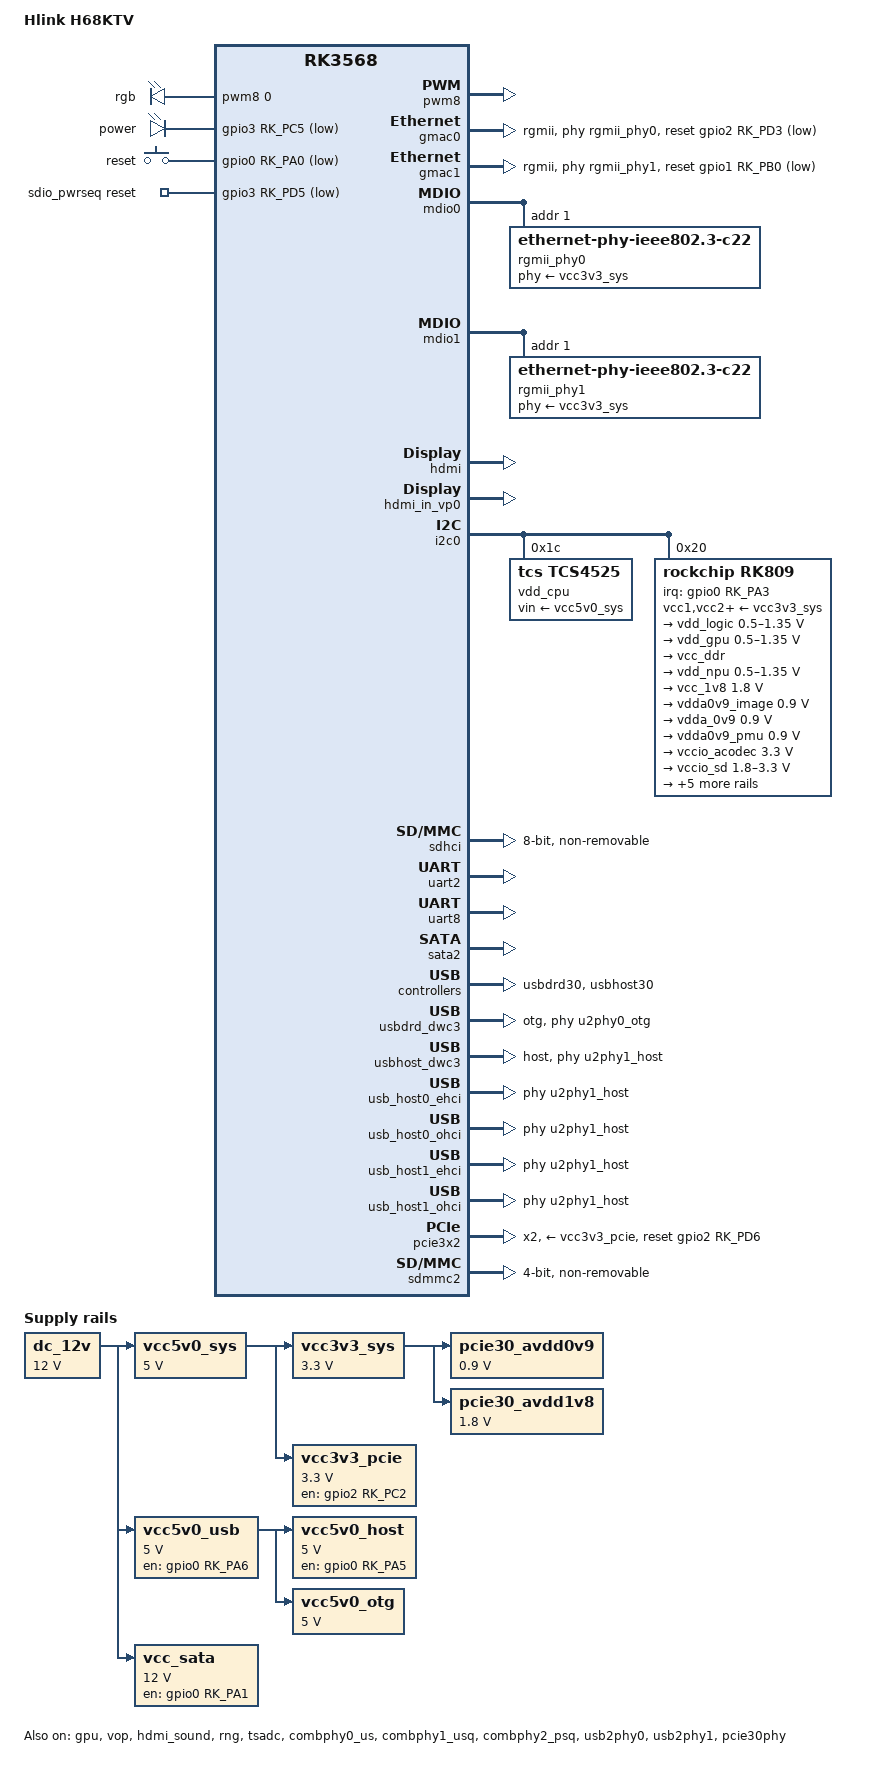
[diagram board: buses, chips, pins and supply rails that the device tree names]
// SPDX-License-Identifier: (GPL-2.0+ OR MIT)
// Copyright (c) 2022 AmadeusGhost <amadeus@jmu.edu.cn>

/dts-v1/;

#include <dt-bindings/gpio/gpio.h>
#include <dt-bindings/leds/common.h>
#include <dt-bindings/input/input.h>
#include <dt-bindings/pinctrl/rockchip.h>
#include <dt-bindings/soc/rockchip,vop2.h>
#include "rk3568.dtsi"

/ {
	model = "Hlink H68KTV";
	compatible = "hlink,h68ktv", "rockchip,rk3568";

	aliases {
		ethernet0 = &gmac0;
		ethernet1 = &gmac1;
		mmc1 = &sdhci;

		led-boot = &power_led;
		led-failsafe = &power_led;
		led-running = &power_led;
		led-upgrade = &power_led;
	};

	chosen: chosen {
		stdout-path = "serial2:1500000n8";
	};

	/* RGB LED 配置 */
	pwm-leds {
		compatible = "pwm-leds";
		rgb {
			label = "rgb";
			pwms = <&pwm8 0 12500000 0>; /* 周期 12.5ms (80Hz)，占空比 0-100% */
			max-brightness = <255>;
			linux,default-trigger = "default-on";
		};
	};

	leds {
		compatible = "gpio-leds";

		power_led: power {
			label = "power";
			gpios = <&gpio3 RK_PC5 GPIO_ACTIVE_LOW>;
			linux,default-trigger = "heartbeat";
			retain-state-suspended;
		};
	};

	keys {
		compatible = "gpio-keys";
		pinctrl-0 = <&reset_button_pin>;
		pinctrl-names = "default";

		reset {
			label = "reset";
			gpios = <&gpio0 RK_PA0 GPIO_ACTIVE_LOW>;
			linux,code = <KEY_RESTART>;
			debounce-interval = <50>;
		};
	};

	dc_12v: dc-12v {
		compatible = "regulator-fixed";
		regulator-name = "dc_12v";
		regulator-always-on;
		regulator-boot-on;
		regulator-min-microvolt = <12000000>;
		regulator-max-microvolt = <12000000>;
	};

	vcc5v0_sys: vcc5v0-sys {
		compatible = "regulator-fixed";
		regulator-name = "vcc5v0_sys";
		regulator-always-on;
		regulator-boot-on;
		regulator-min-microvolt = <5000000>;
		regulator-max-microvolt = <5000000>;
		vin-supply = <&dc_12v>;
	};

	vcc5v0_usb: vcc5v0-usb-regulator {
		compatible = "regulator-fixed";
		regulator-name = "vcc5v0_usb";
		regulator-always-on;
		regulator-boot-on;
		enable-active-high;
		gpio = <&gpio0 RK_PA6 GPIO_ACTIVE_HIGH>;
		pinctrl-names = "default";
		pinctrl-0 = <&vcc5v0_host_en0>;
		regulator-min-microvolt = <5000000>;
		regulator-max-microvolt = <5000000>;
		vin-supply = <&dc_12v>;
	};

	vcc5v0_host: vcc5v0-host-regulator {
		compatible = "regulator-fixed";
		regulator-name = "vcc5v0_host";
		enable-active-high;
		gpio = <&gpio0 RK_PA5 GPIO_ACTIVE_HIGH>;
		pinctrl-names = "default";
		pinctrl-0 = <&vcc5v0_host_en1>;
		regulator-always-on;
		regulator-min-microvolt = <5000000>;
		regulator-max-microvolt = <5000000>;
		vin-supply = <&vcc5v0_usb>;
	};

	vcc5v0_otg: vcc5v0-otg-regulator {
		compatible = "regulator-fixed";
		regulator-name = "vcc5v0_otg";
		regulator-min-microvolt = <5000000>;
		regulator-max-microvolt = <5000000>;
		vin-supply = <&vcc5v0_usb>;
	};
    vcc3v3_sys: vcc3v3-sys {
        compatible = "regulator-fixed";
        regulator-name = "vcc3v3_sys";
        regulator-always-on;
        regulator-boot-on;
        regulator-min-microvolt = <3300000>;
        regulator-max-microvolt = <3300000>;
        vin-supply = <&vcc5v0_sys>;
    };
	vcc3v3_pcie: vcc3v3-pcie-regulator {
		compatible = "regulator-fixed";
		regulator-name = "vcc3v3_pcie";
		enable-active-high;
		gpio = <&gpio2 RK_PC2 GPIO_ACTIVE_HIGH>;
		startup-delay-us = <5000>;
		regulator-min-microvolt = <3300000>;
		regulator-max-microvolt = <3300000>;
		vin-supply = <&vcc5v0_sys>;
	};

	pcie30_avdd0v9: pcie30-avdd0v9 {
		compatible = "regulator-fixed";
		regulator-name = "pcie30_avdd0v9";
		regulator-always-on;
		regulator-boot-on;
		regulator-min-microvolt = <900000>;
		regulator-max-microvolt = <900000>;
		vin-supply = <&vcc3v3_sys>;
	};

	pcie30_avdd1v8: pcie30-avdd1v8 {
		compatible = "regulator-fixed";
		regulator-name = "pcie30_avdd1v8";
		regulator-always-on;
		regulator-boot-on;
		regulator-min-microvolt = <1800000>;
		regulator-max-microvolt = <1800000>;
		vin-supply = <&vcc3v3_sys>;
	};

    vcc_sata: sata-pwr-regulator {
        compatible = "regulator-fixed";
        regulator-name = "vcc_sata";
        enable-active-high;
        gpio = <&gpio0 RK_PA1 GPIO_ACTIVE_HIGH>;
        pinctrl-names = "default";
        pinctrl-0 = <&sata_pwr>;
        regulator-always-on;
        regulator-boot-on;
        regulator-min-microvolt = <12000000>;
        regulator-max-microvolt = <12000000>;
        vin-supply = <&dc_12v>;
    };

	sdio_pwrseq: sdio-pwrseq {
		compatible = "mmc-pwrseq-simple";
		clocks = <&rk809 1>;
		clock-names = "ext_clock";
		pinctrl-names = "default";
		pinctrl-0 = <&wifi_enable_h>;
		reset-gpios = <&gpio3 RK_PD5 GPIO_ACTIVE_LOW>;
		post-power-on-delay-ms = <100>;
	};
};

&pwm8 {
	status = "okay";
};

&cpu0 {
	cpu-supply = <&vdd_cpu>;
};

&cpu1 {
	cpu-supply = <&vdd_cpu>;
};

&cpu2 {
	cpu-supply = <&vdd_cpu>;
};

&cpu3 {
	cpu-supply = <&vdd_cpu>;
};

&gmac0 {
	assigned-clocks = <&cru SCLK_GMAC0_RX_TX>, <&cru SCLK_GMAC0>;
	assigned-clock-parents = <&cru SCLK_GMAC0_RGMII_SPEED>;
	assigned-clock-rates = <0>, <125000000>;
	clock_in_out = "output";
	phy-mode = "rgmii";
	pinctrl-names = "default";
	pinctrl-0 = <&gmac0_miim
		     &gmac0_tx_bus2
		     &gmac0_rx_bus2
		     &gmac0_rgmii_clk
		     &gmac0_rgmii_bus>;
	snps,reset-gpio = <&gpio2 RK_PD3 GPIO_ACTIVE_LOW>;
	snps,reset-active-low;
	snps,reset-delays-us = <0 20000 100000>;
	tx_delay = <0x2e>;
	rx_delay = <0x28>;
	phy-handle = <&rgmii_phy0>;
	status = "okay";
};

&gmac1 {
	assigned-clocks = <&cru SCLK_GMAC1_RX_TX>, <&cru SCLK_GMAC1>;
	assigned-clock-parents = <&cru SCLK_GMAC1_RGMII_SPEED>;
	assigned-clock-rates = <0>, <125000000>;
	clock_in_out = "output";
	phy-mode = "rgmii";
	pinctrl-names = "default";
	pinctrl-0 = <&gmac1m1_miim
		     &gmac1m1_tx_bus2
		     &gmac1m1_rx_bus2
		     &gmac1m1_rgmii_clk
		     &gmac1m1_rgmii_bus>;
	snps,reset-gpio = <&gpio1 RK_PB0 GPIO_ACTIVE_LOW>;
	snps,reset-active-low;
	snps,reset-delays-us = <0 20000 100000>;
	tx_delay = <0x42>;
	rx_delay = <0x25>;
	phy-handle = <&rgmii_phy1>;
	status = "okay";
};

&mdio0 {
    status = "okay";
	rgmii_phy0: ethernet-phy@1 {
		compatible = "ethernet-phy-ieee802.3-c22";
		reg = <1>;
		phy-supply = <&vcc3v3_sys>;
		realtek,led-data = <0xc160>;
	};
};

&mdio1 {
    status = "okay";
	rgmii_phy1: ethernet-phy@1 {
		compatible = "ethernet-phy-ieee802.3-c22";
		reg = <1>;
		phy-supply = <&vcc3v3_sys>;
		realtek,led-data = <0xc160>;
	};
};

&gpu {
	mali-supply = <&vdd_gpu>;
	status = "okay";
};

&hdmi {
    status = "okay";
};

&vop {
    status = "okay";
};

&hdmi_in_vp0 {
    status = "okay";
};

&hdmi_sound {
	status = "okay";
};

&i2c0 {
	status = "okay";

	vdd_cpu: regulator@1c {
		compatible = "tcs,tcs4525";
		reg = <0x1c>;
		fcs,suspend-voltage-selector = <1>;
		regulator-name = "vdd_cpu";
		regulator-always-on;
		regulator-boot-on;
		regulator-min-microvolt = <800000>;
		regulator-max-microvolt = <1150000>;
		regulator-ramp-delay = <2300>;
		vin-supply = <&vcc5v0_sys>;

		regulator-state-mem {
			regulator-off-in-suspend;
		};
	};

	rk809: pmic@20 {
		compatible = "rockchip,rk809";
		reg = <0x20>;

		interrupt-parent = <&gpio0>;
		interrupts = <RK_PA3 IRQ_TYPE_LEVEL_LOW>;

		#clock-cells = <1>;
		clock-names = "mclk";
		clocks = <&cru I2S1_MCLKOUT_TX>;

		pinctrl-names = "default";
		pinctrl-0 = <&pmic_int>, <&i2s1m0_mclk>;

		system-power-controller;
		wakeup-source;

		vcc1-supply = <&vcc3v3_sys>;
		vcc2-supply = <&vcc3v3_sys>;
		vcc3-supply = <&vcc3v3_sys>;
		vcc4-supply = <&vcc3v3_sys>;
		vcc5-supply = <&vcc3v3_sys>;
		vcc6-supply = <&vcc3v3_sys>;
		vcc7-supply = <&vcc3v3_sys>;
		vcc8-supply = <&vcc3v3_sys>;
		vcc9-supply = <&vcc3v3_sys>;

		pwrkey {
			status = "okay";
		};

		pinctrl_rk8xx: pinctrl_rk8xx {
			gpio-controller;
			#gpio-cells = <2>;

			rk817_slppin_null: rk817_slppin_null {
				pins = "gpio_slp";
				function = "pin_fun0";
			};

			rk817_slppin_slp: rk817_slppin_slp {
				pins = "gpio_slp";
				function = "pin_fun1";
			};

			rk817_slppin_pwrdn: rk817_slppin_pwrdn {
				pins = "gpio_slp";
				function = "pin_fun2";
			};

			rk817_slppin_rst: rk817_slppin_rst {
				pins = "gpio_slp";
				function = "pin_fun3";
			};
		};

		regulators {
			vdd_logic: DCDC_REG1 {
				regulator-name = "vdd_logic";
				regulator-always-on;
				regulator-boot-on;
				regulator-init-microvolt = <900000>;
				regulator-initial-mode = <0x2>;
				regulator-min-microvolt = <500000>;
				regulator-max-microvolt = <1350000>;
				regulator-ramp-delay = <6001>;

				regulator-state-mem {
					regulator-off-in-suspend;
				};
			};

			vdd_gpu: DCDC_REG2 {
				regulator-name = "vdd_gpu";
				regulator-always-on;
				regulator-init-microvolt = <900000>;
				regulator-initial-mode = <0x2>;
				regulator-min-microvolt = <500000>;
				regulator-max-microvolt = <1350000>;
				regulator-ramp-delay = <6001>;

				regulator-state-mem {
					regulator-off-in-suspend;
				};
			};

			vcc_ddr: DCDC_REG3 {
				regulator-name = "vcc_ddr";
				regulator-always-on;
				regulator-boot-on;
				regulator-initial-mode = <0x2>;

				regulator-state-mem {
					regulator-on-in-suspend;
				};
			};

			vdd_npu: DCDC_REG4 {
				regulator-name = "vdd_npu";
				regulator-init-microvolt = <900000>;
				regulator-initial-mode = <0x2>;
				regulator-min-microvolt = <500000>;
				regulator-max-microvolt = <1350000>;
				regulator-ramp-delay = <6001>;

				regulator-state-mem {
					regulator-off-in-suspend;
				};
			};

			vcc_1v8: DCDC_REG5 {
				regulator-name = "vcc_1v8";
				regulator-always-on;
				regulator-boot-on;
				regulator-min-microvolt = <1800000>;
				regulator-max-microvolt = <1800000>;

				regulator-state-mem {
					regulator-off-in-suspend;
				};
			};

			vdda0v9_image: LDO_REG1 {
				regulator-name = "vdda0v9_image";
				regulator-min-microvolt = <900000>;
				regulator-max-microvolt = <900000>;

				regulator-state-mem {
					regulator-off-in-suspend;
				};
			};

			vdda_0v9: LDO_REG2 {
				regulator-name = "vdda_0v9";
				regulator-always-on;
				regulator-boot-on;
				regulator-min-microvolt = <900000>;
				regulator-max-microvolt = <900000>;

				regulator-state-mem {
					regulator-off-in-suspend;
				};
			};

			vdda0v9_pmu: LDO_REG3 {
				regulator-name = "vdda0v9_pmu";
				regulator-always-on;
				regulator-boot-on;
				regulator-min-microvolt = <900000>;
				regulator-max-microvolt = <900000>;

				regulator-state-mem {
					regulator-on-in-suspend;
					regulator-suspend-microvolt = <900000>;
				};
			};

			vccio_acodec: LDO_REG4 {
				regulator-name = "vccio_acodec";
				regulator-always-on;
				regulator-min-microvolt = <3300000>;
				regulator-max-microvolt = <3300000>;

				regulator-state-mem {
					regulator-off-in-suspend;
				};
			};

			vccio_sd: LDO_REG5 {
				regulator-name = "vccio_sd";
				regulator-min-microvolt = <1800000>;
				regulator-max-microvolt = <3300000>;

				regulator-state-mem {
					regulator-off-in-suspend;
				};
			};

			vcc3v3_pmu: LDO_REG6 {
				regulator-name = "vcc3v3_pmu";
				regulator-always-on;
				regulator-boot-on;
				regulator-min-microvolt = <3300000>;
				regulator-max-microvolt = <3300000>;

				regulator-state-mem {
					regulator-on-in-suspend;
					regulator-suspend-microvolt = <3300000>;
				};
			};

			vcca_1v8: LDO_REG7 {
				regulator-name = "vcca_1v8";
				regulator-always-on;
				regulator-boot-on;
				regulator-min-microvolt = <1800000>;
				regulator-max-microvolt = <1800000>;

				regulator-state-mem {
					regulator-off-in-suspend;
				};
			};

			vcca1v8_pmu: LDO_REG8 {
				regulator-name = "vcca1v8_pmu";
				regulator-always-on;
				regulator-boot-on;
				regulator-min-microvolt = <1800000>;
				regulator-max-microvolt = <1800000>;

				regulator-state-mem {
					regulator-on-in-suspend;
					regulator-suspend-microvolt = <1800000>;
				};
			};

			vcca1v8_image: LDO_REG9 {
				regulator-name = "vcca1v8_image";
				regulator-min-microvolt = <1800000>;
				regulator-max-microvolt = <1800000>;

				regulator-state-mem {
					regulator-off-in-suspend;
				};
			};

			vcc_3v3: SWITCH_REG1 {
				regulator-name = "vcc_3v3";
				regulator-always-on;
				regulator-boot-on;

				regulator-state-mem {
					regulator-off-in-suspend;
				};
			};
		};
	};
};

&pinctrl {
	// 复位按钮 (GPIO0_A0)
	buttons {
		reset_button_pin: reset-button-pin {
			rockchip,pins = <0 RK_PA0 RK_FUNC_GPIO &pcfg_pull_none>;
		};
	};

	// PMIC 相关 
	pmic {
		pmic_int: pmic-int {
			rockchip,pins = <0 RK_PA3 RK_FUNC_GPIO &pcfg_pull_up>;
		};

		// PMIC 的 MCLK 时钟引脚（I2S1_MCLK）
		i2s1m0_mclk: i2s1m0-mclk {
			rockchip,pins = <1 RK_PA2 RK_FUNC_1 &pcfg_pull_none>;
		};
	};

	// USB 电源使能
	usb {
		vcc5v0_host_en0: vcc5v0-host-en0 {
			rockchip,pins = <0 RK_PA6 RK_FUNC_GPIO &pcfg_pull_none>;
		};

		vcc5v0_host_en1: vcc5v0-host-en1 {
			rockchip,pins = <0 RK_PA5 RK_FUNC_GPIO &pcfg_pull_none>;
		};
	};

	// WiFi (SDIO) 相关
	sdio-pwrseq {
		wifi_enable_h: wifi-enable-h {
			rockchip,pins = <3 RK_PD5 RK_FUNC_GPIO &pcfg_pull_none>;
		};
	};

	wireless-wlan {
		wifi_host_wake_irq: wifi-host-wake-irq {
			rockchip,pins = <3 RK_PD4 RK_FUNC_GPIO &pcfg_pull_down>;
		};
	};

	// 蓝牙 (UART8)
	wireless-bluetooth {
		uart8_gpios: uart8-gpios {
			rockchip,pins = <2 RK_PA1 RK_FUNC_GPIO &pcfg_pull_none>;
		};
	};

	// SATA 电源控制器
	sata {
		sata_pwr: sata-pwr {
			rockchip,pins = <0 RK_PA1 RK_FUNC_GPIO &pcfg_pull_none>;
		};
	};

	// PCIe 相关
	pcie {
		pcie_pwr: pcie-pwr {
			rockchip,pins = <2 RK_PC2 RK_FUNC_GPIO &pcfg_pull_none>;
		};

		pcie_reset: pcie-reset {
			rockchip,pins = <2 RK_PD6 RK_FUNC_GPIO &pcfg_pull_none>;
		};
	};

	// 以太网 PHY 复位
	gmac0 {
		gmac0_reset: gmac0-reset {
			rockchip,pins = <2 RK_PD3 RK_FUNC_GPIO &pcfg_pull_none>;
		};
	};

	gmac1 {
		gmac1_reset: gmac1-reset {
			rockchip,pins = <1 RK_PB0 RK_FUNC_GPIO &pcfg_pull_none>;
		};
	};

	// 串口调试
	uart2 {
		uart2m0_xfer: uart2m0-xfer {
			rockchip,pins = <1 RK_PC4 RK_FUNC_2 &pcfg_pull_up>,
					<1 RK_PC5 RK_FUNC_2 &pcfg_pull_up>;
		};
	};

	// LED 指示灯
	leds {
		led_power_pin: led-power-pin {
			rockchip,pins = <3 RK_PC5 RK_FUNC_GPIO &pcfg_pull_none>;
		};
	};
};

&pmu_io_domains {
	pmuio1-supply = <&vcc3v3_pmu>;
	pmuio2-supply = <&vcc3v3_pmu>;
	vccio1-supply = <&vccio_acodec>;
	vccio2-supply = <&vcc_1v8>;
	vccio3-supply = <&vccio_sd>;
	vccio4-supply = <&vcc_1v8>;
	vccio5-supply = <&vcc_3v3>;
	vccio6-supply = <&vcc_1v8>;
	vccio7-supply = <&vcc_3v3>;
	status = "okay";
};

&rng {
	status = "okay";
};

&sdhci {
	bus-width = <8>;
	max-frequency = <200000000>;
	non-removable;
	pinctrl-names = "default";
	pinctrl-0 = <&emmc_bus8 &emmc_clk &emmc_cmd &emmc_datastrobe>;
	status = "okay";
};

&tsadc {
	rockchip,hw-tshut-mode = <1>;
	rockchip,hw-tshut-polarity = <0>;
	status = "okay";
};

/* 用于USB3-otg */
&combphy0_us {
	status = "okay";
};

/* 用于USB3-Host */
&combphy1_usq {
	status = "okay";
};

/* 用于SATA */
&combphy2_psq {
	status = "okay";
};

&uart2 {
	status = "okay";
};

/* 用于蓝牙 */
&uart8 {
	pinctrl-names = "default";
	pinctrl-0 = <&uart8m0_xfer &uart8m0_ctsn &uart8m0_rtsn>;
	status = "okay";
};

&sata2 {
	status = "okay";
    target-supply = <&vcc_sata>;
};

&usb2phy0 {
	status = "okay";

	u2phy0_host: host-port {
		phy-supply = <&vcc5v0_host>;
		status = "okay";
	};

	u2phy0_otg: otg-port {
		vbus-supply = <&vcc5v0_otg>;
		status = "okay";
	};
};

&usb2phy1 {
	status = "okay";

	u2phy1_host: host-port {
		phy-supply = <&vcc5v0_host>;
		status = "okay";
	};
};

&usbdrd30 {
	status = "okay";
};

&usbdrd_dwc3 {
	dr_mode = "otg";
	phys = <&u2phy0_otg>;
	phy-names = "usb2-phy";
	status = "okay";
};

&usbhost30 {
	status = "okay";
};

&usbhost_dwc3 {
	dr_mode = "host";
	phys = <&u2phy1_host>;
	phy-names = "usb2-phy";
	status = "okay";
};

&usb_host0_ehci {
	phys = <&u2phy1_host>;
	phy-names = "usb2-phy";
	status = "okay";
};

&usb_host0_ohci {
	phys = <&u2phy1_host>;
	phy-names = "usb2-phy";
	status = "okay";
};

&usb_host1_ehci {
	phys = <&u2phy1_host>;
	phy-names = "usb2-phy";
	status = "okay";
};

&usb_host1_ohci {
	phys = <&u2phy1_host>;
	phy-names = "usb2-phy";
	status = "okay";
};

&pcie30phy {
	status = "okay";
};

&pcie3x2 {
	reset-gpios = <&gpio2 RK_PD6 GPIO_ACTIVE_HIGH>;
	vpcie3v3-supply = <&vcc3v3_pcie>;
	num-lanes = <2>;
	status = "okay";
    reset-delays-us = <0 100000 100000>;
};

&sdmmc2 {
	max-frequency = <150000000>;
	supports-sdio;
	bus-width = <4>;
	cap-sd-highspeed;
	cap-sdio-irq;
	keep-power-in-suspend;
	mmc-pwrseq = <&sdio_pwrseq>;
	non-removable;
	pinctrl-names = "default";
	pinctrl-0 = <&sdmmc2m0_bus4 &sdmmc2m0_cmd &sdmmc2m0_clk>;
	sd-uhs-sdr104;
	status = "okay";
};
